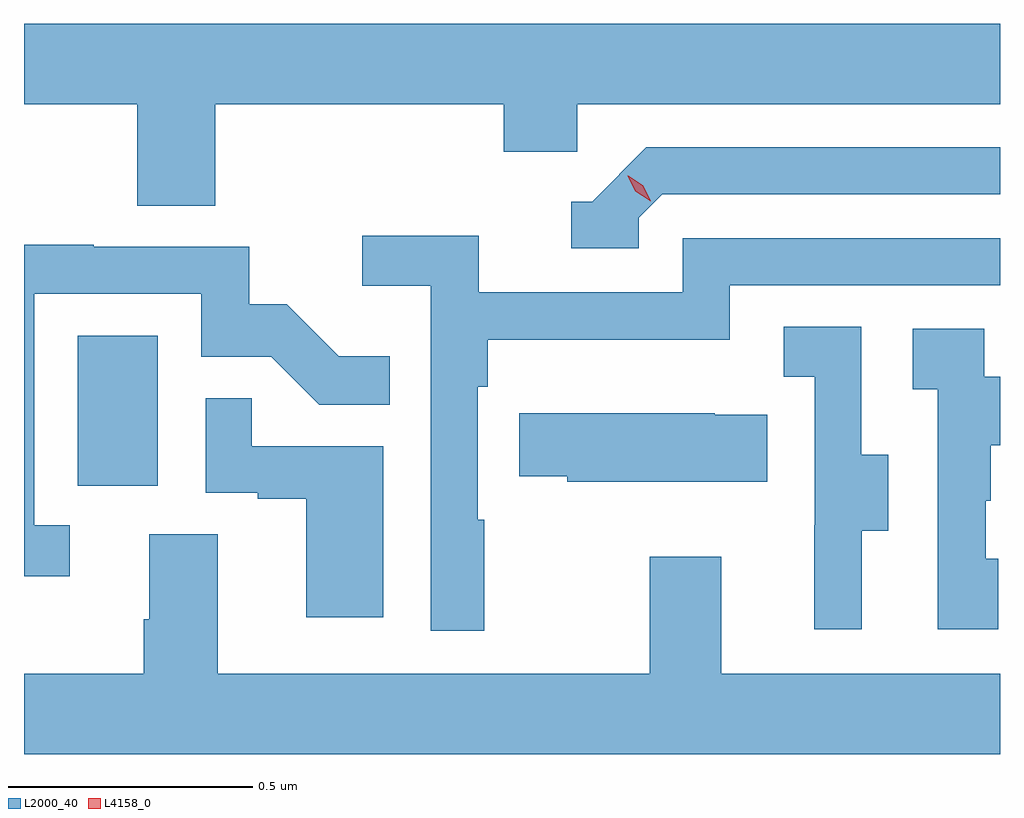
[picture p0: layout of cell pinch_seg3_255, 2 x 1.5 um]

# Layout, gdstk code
import gdstk
lib = gdstk.Library(unit=1e-6, precision=1e-09)
def R(c, l, rs):  # rectangles x0, y0, x1, y1
    for r in rs: c.add(gdstk.rectangle(r[:2], r[2:], *l))
def P(c, l, *ps):  # polygons
    for p in ps: c.add(gdstk.Polygon(p, *l))
L2000_40 = (2000, 40)
L4158_0 = (4158, 0)

pinch_seg3_255 = lib.new_cell('pinch_seg3_255')
R(pinch_seg3_255, L2000_40, [(929.222,726.774,929.386,727.081)])
P(pinch_seg3_255, L2000_40, [(929.504,727.556),(930.095,727.556),(930.095,727.458),(930.246,727.458),(930.246,727.556),(931.112,727.556),(931.112,727.72),(929.112,727.72),(929.112,727.556),(929.344,727.556),(929.344,727.348),(929.504,727.348)],
  [(930.372,727.323),(930.42,727.371),(931.112,727.371),(931.112,727.467),(930.387,727.467),(930.276,727.356),(930.233,727.356),(930.233,727.26),(930.372,727.26)],
  [(930.055,726.704),(930.042,726.704),(930.042,726.977),(930.062,726.977),(930.062,727.073),(930.558,727.073),(930.558,727.185),(931.112,727.185),(931.112,727.281),(930.462,727.281),(930.462,727.17),(930.044,727.17),(930.044,727.286),(929.805,727.286),(929.805,727.184),(929.946,727.184),(929.946,726.477),(930.055,726.477)],
  [(929.206,726.693),(929.133,726.693),(929.133,727.167),(929.475,727.167),(929.475,727.038),(929.619,727.038),(929.717,726.94),(929.861,726.94),(929.861,727.039),(929.757,727.039),(929.65,727.146),(929.574,727.146),(929.574,727.263),(929.255,727.263),(929.255,727.268),(929.112,727.268),(929.112,726.588),(929.206,726.588)],
  [(930.829,726.682),(930.883,726.682),(930.883,726.837),(930.828,726.837),(930.828,727.1),(930.669,727.1),(930.669,726.997),(930.732,726.997),(930.732,726.693),(930.731,726.693),(930.731,726.48),(930.829,726.48)],
  [(931.108,726.624),(931.083,726.624),(931.083,726.743),(931.093,726.743),(931.093,726.857),(931.112,726.857),(931.112,726.997),(931.08,726.997),(931.08,727.095),(930.933,727.095),(930.933,726.971),(930.984,726.971),(930.984,726.48),(931.108,726.48)],
  [(929.848,726.855),(929.579,726.855),(929.579,726.953),(929.484,726.953),(929.484,726.759),(929.591,726.759),(929.591,726.747),(929.69,726.747),(929.69,726.504),(929.848,726.504)],
  [(930.635,726.919),(930.527,726.919),(930.527,726.922),(930.127,726.922),(930.127,726.793),(930.225,726.793),(930.225,726.782),(930.635,726.782)],
  [(931.112,726.388),(930.541,726.388),(930.541,726.628),(930.394,726.628),(930.394,726.388),(929.509,726.388),(929.509,726.674),(929.369,726.674),(929.369,726.5),(929.357,726.5),(929.357,726.388),(929.112,726.388),(929.112,726.224),(931.112,726.224)])
P(pinch_seg3_255, L4158_0, [(930.396,727.357),(930.365,727.377),(930.349,727.409),(930.349,727.409),(930.35,727.409),(930.38,727.39),(930.396,727.358),(930.396,727.357)])

lib.write_gds('pinch_seg3_255.gds')
